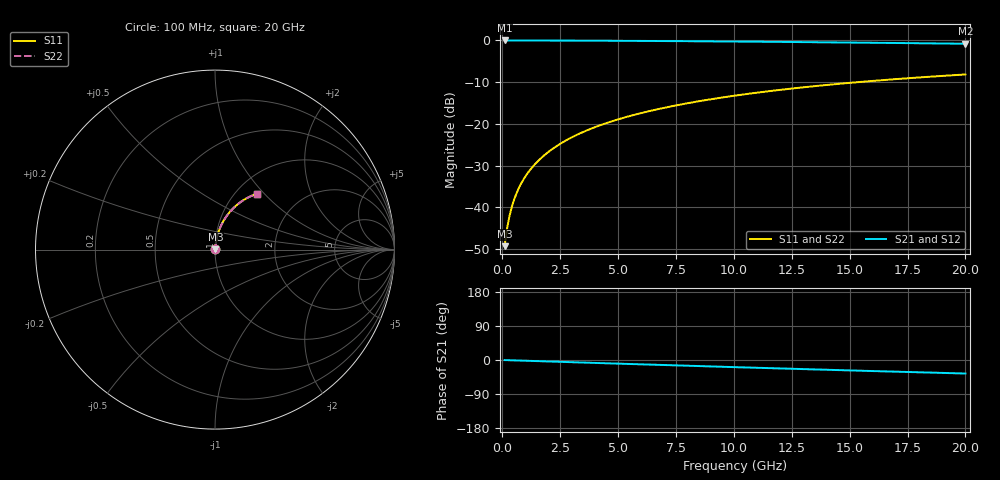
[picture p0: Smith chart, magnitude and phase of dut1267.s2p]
! Touchstone file exported from HFSS 2026.1.0
!  File:  C:/ffzhzh/LocalFiles/Ansys_Project_Files/temp_train_BSMRDL_1267_1783177601_18472.aedt
!  Generated:  11:07:53 PM Jul  4, 2026
!  Design:  BSMRDL
!  Project:  temp_train_BSMRDL_1267_1783177601_18472
! Variables:
!  h_bsmrdl = 4.61um
!  h_ox = 20um
!  h_rdl = 5um
!  h_sub = 80um
!  h_tmrdl = 5um
!  h_tsv = 80um
!  h_via = 3um
!  l_bsmrdl = 467.07um
!  l_sub = 867.07um
!  l_tmrdl = 200um
!  m_sub = 200um
!  pitch = 50.52um
!  r_tsv = 6um
!  s_tmrdl = 10um
!  w_bsmrdl = 15.59um
!  w_sub = 500um
!  w_tmrdl = 12um
!  x_tsv_center1 = 206um
!  x_tsv_center2 = 688.66um
!  x_tsv_center3 = 900.66um
!  x_tsv_center4 = 1383.32um
!  x_tsv_center5 = 1595.32um
!  x_tsv_center6 = 2077.98um
# GHz S MA R 50.000000
! Terminal data exported
! Port[1] = BSM_RDL1_1_T1
! Port[2] = BSM_RDL1_1_T2
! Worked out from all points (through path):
!   200 points, 100 MHz to 20 GHz, reference 50 ohm
!   highest |S21| = -0.02 dB at 100 MHz (marker M1); lowest = -0.8 dB at 20 GHz (marker M2)
!   group delay of S21, straight-line fit = 4.96 ps
!   lowest |S11| = -49.3 dB at 100 MHz (marker M3), VSWR 1.01, Z = 50.2 + j0.242 ohm
!   |S11| at or under -10 dB: start of sweep to 15.38 GHz
!   |S22| runs from -49.3 to -8.2 dB; largest |S21 - S12| = 3e-15
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0.1  0.003415 45.0  0.9976 -0.2  0.9976 -0.2  0.003415 45.0
! Gamma 0 0 0 0
! Port Impedance 50 0 50 0
0.2  0.005413 62.4  0.9975 -0.4  0.9975 -0.4  0.005413 62.4
0.3  0.007614 69.8  0.9974 -0.6  0.9974 -0.6  0.007614 69.8
0.4  0.009858 73.7  0.9973 -0.8  0.9973 -0.8  0.009859 73.7
0.5  0.01211 76.1  0.9972 -1.0  0.9972 -1.0  0.01211 76.1
0.7  0.01664 78.9  0.9971 -1.4  0.9971 -1.4  0.01664 78.9
0.8  0.0189 79.7  0.997 -1.6  0.997 -1.6  0.01891 79.7
1  0.02345 80.9  0.9968 -2.0  0.9968 -2.0  0.02345 80.8
1.2  0.028 81.5  0.9967 -2.3  0.9967 -2.3  0.028 81.5
1.4  0.03256 81.8  0.9965 -2.7  0.9965 -2.7  0.03256 81.8
1.7  0.03939 82.0  0.9961 -3.3  0.9961 -3.3  0.03939 82.0
2  0.04621 82.0  0.9957 -3.9  0.9957 -3.9  0.04622 82.0
2.7  0.06206 81.4  0.9945 -5.2  0.9945 -5.2  0.06206 81.4
3.5  0.08 80.3  0.9927 -6.8  0.9927 -6.8  0.08 80.3
4.2  0.09551 79.2  0.9909 -8.1  0.9909 -8.1  0.09551 79.2
5  0.113 77.9  0.9886 -9.6  0.9886 -9.6  0.113 77.9
6.8  0.1515 74.8  0.9825 -13.0  0.9825 -13.0  0.1515 74.8
8.3  0.1826 72.2  0.9765 -15.7  0.9765 -15.7  0.1826 72.2
10.1  0.2187 69.1  0.9684 -19.0  0.9684 -19.0  0.2187 69.1
13.4  0.2812 63.5  0.9512 -24.8  0.9512 -24.8  0.2812 63.5
16.7  0.3385 58.1  0.9319 -30.3  0.9319 -30.3  0.3385 58.1
20  0.3902 52.9  0.9111 -35.7  0.9111 -35.7  0.3902 52.9
